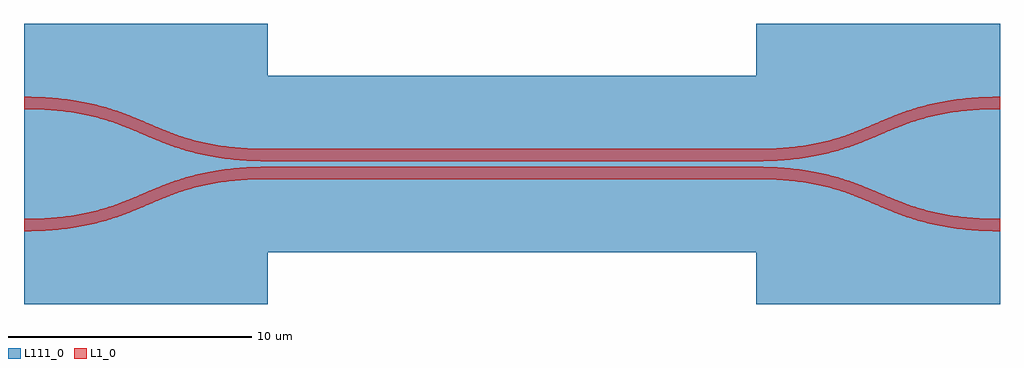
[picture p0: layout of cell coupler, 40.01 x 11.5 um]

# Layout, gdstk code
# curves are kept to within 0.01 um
import gdstk
lib = gdstk.Library(unit=1e-6, precision=1e-09)
def R(c, l, rs):  # rectangles x0, y0, x1, y1
    for r in rs: c.add(gdstk.rectangle(r[:2], r[2:], *l))
def P(c, l, *ps):  # polygons
    for p in ps: c.add(gdstk.Polygon(p, *l))
L1_0 = (1, 0)
L111_0 = (111, 0)

coupler = lib.new_cell('coupler')
R(coupler, L1_0, [(0,0,20.007,0.5), (0,0.736,20.007,1.236)])
P(coupler, L1_0, [(0,0),(-0.851,-0.023),(-1.601,-0.086),(-2.266,-0.185),(-2.953,-0.337),(-3.483,-0.493),(-3.975,-0.666),(-5.524,-1.307),(-6.187,-1.557),(-6.729,-1.727),(-7.428,-1.898),(-7.983,-1.996),(-8.591,-2.07),(-9.261,-2.117),(-10,-2.133),(-10,-1.633),(-9.149,-1.61),(-8.399,-1.547),(-7.734,-1.448),(-7.047,-1.296),(-6.517,-1.14),(-6.025,-0.967),(-4.476,-0.326),(-3.813,-0.076),(-3.271,0.094),(-2.572,0.265),(-2.017,0.363),(-1.409,0.437),(-0.739,0.484),(0,0.5)],
  [(0,1.236),(-0.851,1.259),(-1.601,1.322),(-2.266,1.421),(-2.953,1.573),(-3.483,1.729),(-3.975,1.902),(-5.524,2.543),(-6.187,2.793),(-6.729,2.963),(-7.428,3.134),(-7.983,3.232),(-8.591,3.306),(-9.261,3.353),(-10,3.369),(-10,2.869),(-9.149,2.846),(-8.399,2.783),(-7.734,2.684),(-7.047,2.532),(-6.517,2.376),(-6.025,2.203),(-4.476,1.562),(-3.813,1.312),(-3.271,1.142),(-2.572,0.971),(-2.017,0.873),(-1.409,0.799),(-0.739,0.752),(0,0.736)],
  [(20.007,1.236),(20.858,1.259),(21.608,1.322),(22.273,1.421),(22.96,1.573),(23.49,1.729),(23.982,1.902),(25.531,2.543),(26.194,2.793),(26.736,2.963),(27.435,3.134),(27.99,3.232),(28.598,3.306),(29.268,3.353),(30.007,3.369),(30.007,2.869),(29.156,2.846),(28.406,2.783),(27.741,2.684),(27.054,2.532),(26.524,2.376),(26.032,2.203),(24.483,1.562),(23.82,1.312),(23.278,1.142),(22.579,0.971),(22.024,0.873),(21.416,0.799),(20.746,0.752),(20.007,0.736)],
  [(20.007,0),(20.858,-0.023),(21.608,-0.086),(22.273,-0.185),(22.96,-0.337),(23.49,-0.493),(23.982,-0.666),(25.531,-1.307),(26.194,-1.557),(26.736,-1.727),(27.435,-1.898),(27.99,-1.996),(28.598,-2.07),(29.268,-2.117),(30.007,-2.133),(30.007,-1.633),(29.156,-1.61),(28.406,-1.547),(27.741,-1.448),(27.054,-1.296),(26.524,-1.14),(26.032,-0.967),(24.483,-0.326),(23.82,-0.076),(23.278,0.094),(22.579,0.265),(22.024,0.363),(21.416,0.437),(20.746,0.484),(20.007,0.5)])
R(coupler, L111_0, [(-10,-5.133,0,3.5), (20.007,-5.133,30.007,3.5), (0,-3,20.007,4.236), (-10,-2.264,0,6.369), (20.007,-2.264,30.007,6.369)])

lib.write_gds('coupler.gds')
